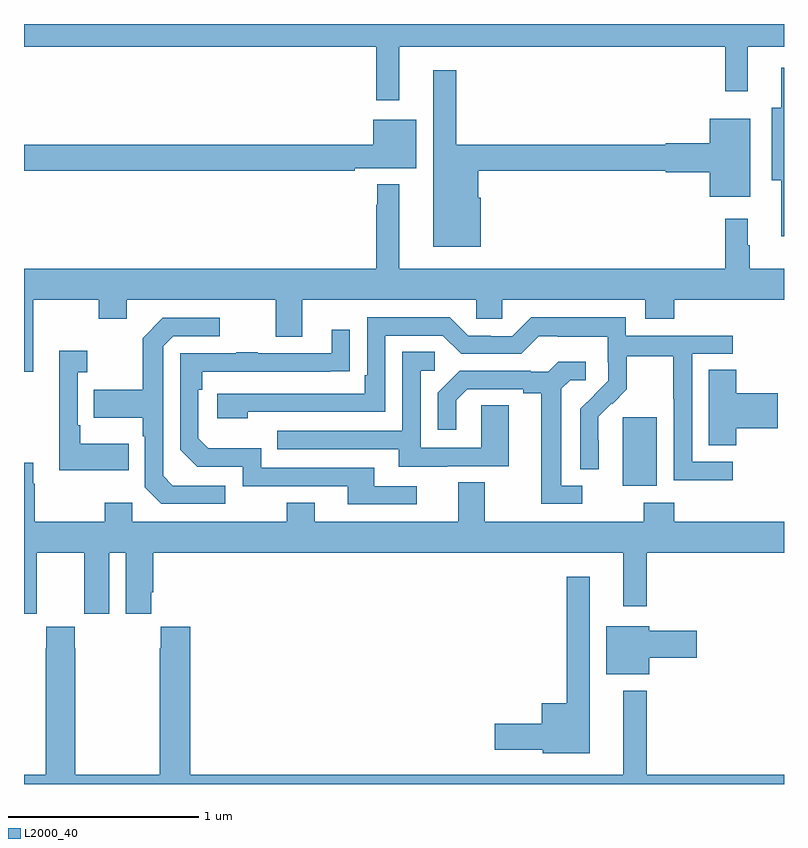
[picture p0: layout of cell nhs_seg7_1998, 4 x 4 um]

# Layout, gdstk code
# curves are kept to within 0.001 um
import gdstk
lib = gdstk.Library(unit=1e-6, precision=1e-09)
def R(c, l, rs):  # rectangles x0, y0, x1, y1
    for r in rs: c.add(gdstk.rectangle(r[:2], r[2:], *l))
def P(c, l, *ps):  # polygons
    for p in ps: c.add(gdstk.Polygon(p, *l))
L2000_40 = (2000, 40)

nhs_seg7_1998 = lib.new_cell('nhs_seg7_1998')
R(nhs_seg7_1998, L2000_40, [(246.152,1067.57,246.331,1067.931)])
P(nhs_seg7_1998, L2000_40, [(244.975,1069.88),(246.691,1069.88),(246.691,1069.647),(246.809,1069.647),(246.809,1069.88),(247,1069.88),(247,1070),(243,1070),(243,1069.88),(244.854,1069.88),(244.854,1069.599),(244.975,1069.599)],
  [(247,1069.771),(246.986,1069.771),(246.986,1069.558),(246.935,1069.558),(246.935,1069.178),(246.986,1069.178),(246.986,1068.884),(247,1068.884)],
  [(245.404,1069.086),(245.392,1069.086),(245.392,1069.228),(246.378,1069.228),(246.378,1069.22),(246.608,1069.22),(246.608,1069.091),(246.823,1069.091),(246.823,1069.501),(246.608,1069.501),(246.608,1069.372),(246.378,1069.372),(246.378,1069.364),(245.275,1069.364),(245.275,1069.756),(245.153,1069.756),(245.153,1068.827),(245.404,1068.827)],
  [(244.742,1069.241),(245.065,1069.241),(245.065,1069.495),(244.838,1069.495),(244.838,1069.364),(243,1069.364),(243,1069.228),(244.742,1069.228)],
  [(243.049,1068.548),(243.394,1068.548),(243.394,1068.449),(243.541,1068.449),(243.541,1068.548),(244.325,1068.548),(244.325,1068.354),(244.465,1068.354),(244.465,1068.548),(245.379,1068.548),(245.379,1068.45),(245.517,1068.45),(245.517,1068.548),(246.269,1068.548),(246.269,1068.449),(246.422,1068.449),(246.422,1068.548),(247,1068.548),(247,1068.712),(246.82,1068.712),(246.82,1068.836),(246.808,1068.836),(246.808,1068.976),(246.691,1068.976),(246.691,1068.712),(244.975,1068.712),(244.975,1069.156),(244.86,1069.156),(244.86,1069.049),(244.854,1069.049),(244.854,1068.712),(243,1068.712),(243,1068.171),(243.049,1068.171)],
  [(246.73,1067.697),(246.516,1067.697),(246.516,1068.264),(246.73,1068.264),(246.73,1068.36),(246.168,1068.36),(246.168,1068.457),(245.671,1068.457),(245.571,1068.357),(245.456,1068.357),(245.456,1068.36),(245.337,1068.36),(245.241,1068.456),(244.806,1068.456),(244.806,1068.151),(244.793,1068.151),(244.793,1068.054),(244.017,1068.054),(244.017,1067.924),(244.178,1067.924),(244.178,1067.958),(244.902,1067.958),(244.902,1068.36),(245.205,1068.36),(245.301,1068.264),(245.616,1068.264),(245.709,1068.357),(245.809,1068.357),(245.809,1068.353),(246.072,1068.353),(246.072,1068.219),(246.074,1068.219),(246.074,1068.122),(245.928,1067.974),(245.928,1067.656),(246.024,1067.656),(246.023,1067.933),(246.093,1068.003),(246.096,1068),(246.173,1068.077),(246.173,1068.252),(246.418,1068.252),(246.418,1068.028),(246.42,1068.028),(246.42,1067.599),(246.73,1067.599)],
  [(244.06,1067.571),(243.783,1067.571),(243.732,1067.622),(243.732,1068.303),(243.786,1068.357),(244.03,1068.357),(244.03,1068.453),(243.729,1068.453),(243.624,1068.347),(243.624,1068.075),(243.367,1068.075),(243.367,1067.927),(243.624,1067.927),(243.624,1067.831),(243.636,1067.831),(243.636,1067.562),(243.723,1067.475),(244.06,1067.475)],
  [(245.068,1067.568),(244.843,1067.568),(244.843,1067.664),(244.248,1067.664),(244.248,1067.767),(243.971,1067.767),(243.918,1067.82),(243.918,1068.074),(243.938,1068.074),(243.938,1068.171),(244.715,1068.172),(244.715,1068.391),(244.619,1068.391),(244.619,1068.267),(244.229,1068.267),(244.229,1068.272),(244.117,1068.272),(244.117,1068.267),(243.822,1068.267),(243.822,1067.76),(243.912,1067.67),(244.152,1067.67),(244.152,1067.568),(244.703,1067.568),(244.703,1067.472),(245.068,1067.472)],
  [(243.551,1067.791),(243.295,1067.791),(243.295,1067.887),(243.282,1067.887),(243.282,1068.167),(243.334,1068.167),(243.334,1068.28),(243.185,1068.28),(243.185,1067.651),(243.551,1067.651)],
  [(245.227,1067.673),(245.551,1067.673),(245.551,1067.993),(245.406,1067.993),(245.406,1067.769),(245.088,1067.769),(245.088,1068.174),(245.161,1068.174),(245.161,1068.275),(244.992,1068.275),(244.992,1067.859),(244.333,1067.859),(244.333,1067.763),(244.973,1067.763),(244.973,1067.669),(245.227,1067.669)],
  [(245.938,1067.571),(245.827,1067.571),(245.827,1068.079),(245.874,1068.126),(245.956,1068.126),(245.956,1068.223),(245.812,1068.223),(245.76,1068.171),(245.666,1068.171),(245.666,1068.174),(245.294,1068.174),(245.178,1068.058),(245.178,1067.865),(245.275,1067.865),(245.275,1068.021),(245.332,1068.078),(245.627,1068.078),(245.627,1068.056),(245.723,1068.056),(245.723,1067.475),(245.938,1067.475)],
  [(246.749,1067.873),(246.967,1067.873),(246.967,1068.056),(246.749,1068.056),(246.749,1068.179),(246.605,1068.179),(246.605,1067.782),(246.749,1067.782)],
  [(243.066,1067.008),(243.067,1067.008),(243.067,1067.216),(243.317,1067.216),(243.317,1067.008),(243.318,1067.008),(243.318,1066.896),(243.448,1066.896),(243.448,1067.216),(243.536,1067.216),(243.536,1066.896),(243.67,1066.896),(243.67,1067.008),(243.68,1067.008),(243.68,1067.216),(246.155,1067.216),(246.155,1066.935),(246.277,1066.935),(246.277,1067.216),(247,1067.216),(247,1067.38),(246.422,1067.38),(246.422,1067.479),(246.262,1067.479),(246.262,1067.38),(245.425,1067.38),(245.425,1067.588),(245.285,1067.588),(245.285,1067.38),(244.531,1067.38),(244.531,1067.479),(244.384,1067.479),(244.384,1067.38),(243.57,1067.38),(243.57,1067.479),(243.424,1067.479),(243.424,1067.38),(243.057,1067.38),(243.057,1067.579),(243.049,1067.579),(243.049,1067.692),(243,1067.692),(243,1066.896),(243.066,1066.896)],
  [(245.977,1067.092),(245.856,1067.092),(245.856,1066.426),(245.726,1066.426),(245.726,1066.316),(245.478,1066.316),(245.478,1066.181),(245.73,1066.181),(245.73,1066.163),(245.977,1066.163)],
  [(246.292,1066.664),(246.541,1066.664),(246.541,1066.806),(246.292,1066.806),(246.292,1066.831),(246.065,1066.831),(246.065,1066.577),(246.292,1066.577)],
  [(247,1066.048),(246.277,1066.048),(246.277,1066.492),(246.155,1066.492),(246.155,1066.048),(243.875,1066.048),(243.875,1066.828),(243.721,1066.828),(243.721,1066.715),(243.715,1066.715),(243.715,1066.048),(243.27,1066.048),(243.27,1066.715),(243.267,1066.715),(243.267,1066.828),(243.117,1066.828),(243.117,1066.715),(243.115,1066.715),(243.115,1066.048),(243,1066.048),(243,1066),(247,1066)])

lib.write_gds('nhs_seg7_1998.gds')
